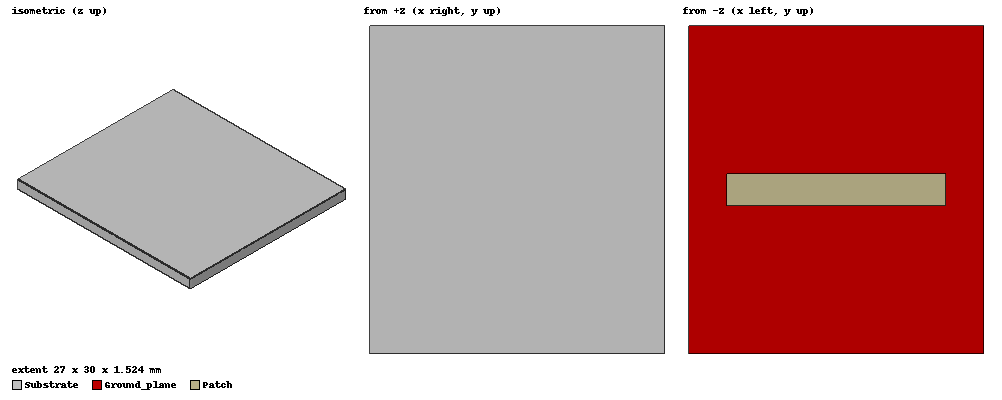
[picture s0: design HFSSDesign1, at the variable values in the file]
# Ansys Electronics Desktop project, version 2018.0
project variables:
  $lambda = 200mm
  $w = 30mm
  $l = 27mm
  $wl = 3mm
  $ll = 20mm
  $h = 1.524mm
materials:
  vacuum: permittivity=1
  FR4_epoxy: permittivity=4.4 dielectric_loss_tangent=0.02

design HFSSDesign1 (HFSS, DrivenTerminal, model units mm)
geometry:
  Substrate [FR4_epoxy] = box(corner=(-$l/2, -$w/2, 0mm), size=($l, $w, $h))
  Ground_plane = rectangle(corner=(-$l/2, -$w/2, 0), x_size=$l, y_size=$w)
  Patch = rectangle(corner=(-$ll/2, -$wl/2, 0mm), x_size=$ll, y_size=$wl)
